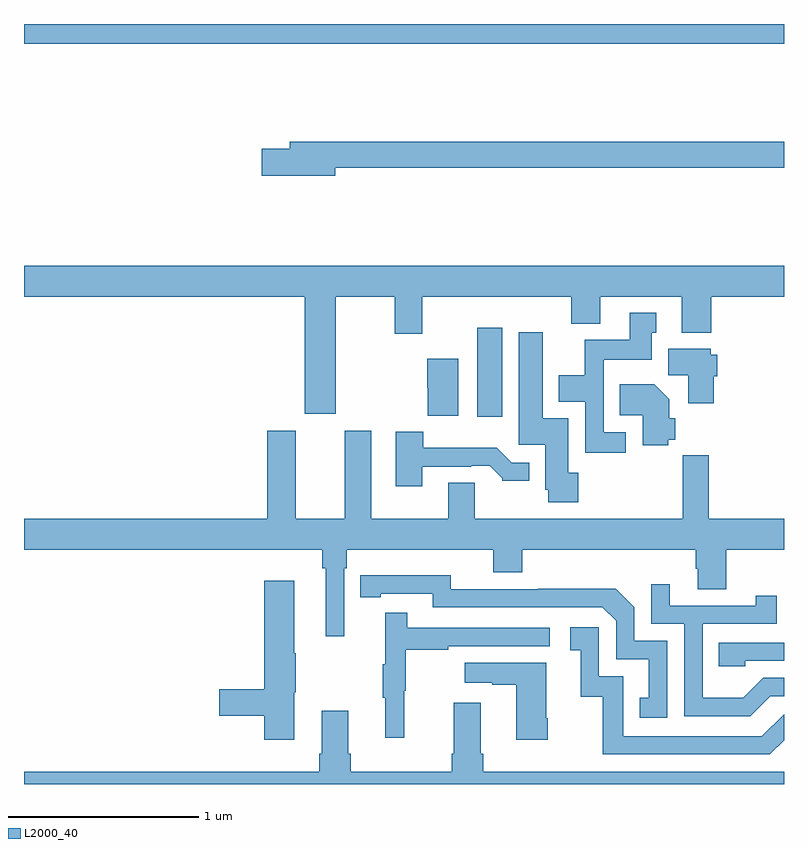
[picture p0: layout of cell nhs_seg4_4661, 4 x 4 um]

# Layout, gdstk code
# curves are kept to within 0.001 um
import gdstk
lib = gdstk.Library(unit=1e-6, precision=1e-09)
def R(c, l, rs):  # rectangles x0, y0, x1, y1
    for r in rs: c.add(gdstk.rectangle(r[:2], r[2:], *l))
def P(c, l, *ps):  # polygons
    for p in ps: c.add(gdstk.Polygon(p, *l))
L2000_40 = (2000, 40)

nhs_seg4_4661 = lib.new_cell('nhs_seg4_4661')
R(nhs_seg4_4661, L2000_40, [(363.386,818.832,363.517,819.301), (361,820.796,365,820.9)])
P(nhs_seg4_4661, L2000_40, [(362.638,820.144),(365,820.144),(365,820.28),(362.399,820.28),(362.399,820.244),(362.25,820.244),(362.25,820.102),(362.638,820.102)],
  [(362.641,819.464),(362.95,819.464),(362.95,819.27),(363.097,819.27),(363.097,819.464),(363.881,819.464),(363.881,819.323),(364.033,819.323),(364.033,819.464),(364.463,819.464),(364.463,819.275),(364.616,819.275),(364.616,819.464),(365,819.464),(365,819.628),(361,819.628),(361,819.464),(362.477,819.464),(362.477,818.85),(362.641,818.85)],
  [(364.168,818.751),(364.05,818.751),(364.05,819.134),(364.303,819.134),(364.303,819.276),(364.327,819.276),(364.327,819.379),(364.187,819.379),(364.187,819.238),(363.952,819.238),(363.952,819.052),(363.815,819.052),(363.815,818.912),(363.954,818.912),(363.954,818.643),(364.168,818.643)],
  [(363.917,818.538),(363.865,818.538),(363.865,818.824),(363.73,818.824),(363.73,819.277),(363.605,819.277),(363.605,818.685),(363.743,818.685),(363.743,818.448),(363.76,818.448),(363.76,818.382),(363.917,818.382)],
  [(364.631,819.045),(364.649,819.045),(364.649,819.159),(364.614,819.159),(364.614,819.19),(364.391,819.19),(364.391,819.052),(364.496,819.052),(364.496,818.904),(364.631,818.904)],
  [(363.286,819.139),(363.122,819.139),(363.122,818.985),(363.124,818.985),(363.124,818.837),(363.286,818.837)],
  [(364.392,818.712),(364.427,818.712),(364.427,818.826),(364.396,818.826),(364.396,818.926),(364.318,819.004),(364.135,819.004),(364.135,818.84),(364.256,818.84),(364.256,818.683),(364.392,818.683)],
  [(362.685,818.036),(362.699,818.036),(362.699,818.132),(363.47,818.132),(363.47,818.015),(363.623,818.015),(363.623,818.132),(364.535,818.132),(364.535,818.034),(364.547,818.034),(364.547,817.924),(364.695,817.924),(364.695,818.132),(365,818.132),(365,818.296),(364.604,818.296),(364.604,818.629),(364.468,818.629),(364.468,818.296),(363.373,818.296),(363.373,818.486),(363.233,818.486),(363.233,818.296),(362.827,818.296),(362.827,818.758),(362.687,818.758),(362.687,818.296),(362.431,818.296),(362.431,818.758),(362.279,818.758),(362.279,818.296),(361,818.296),(361,818.132),(362.569,818.132),(362.569,818.036),(362.588,818.036),(362.588,817.677),(362.685,817.677)],
  [(363.097,818.571),(363.353,818.571),(363.353,818.574),(363.452,818.574),(363.516,818.51),(363.516,818.495),(363.658,818.495),(363.658,818.592),(363.567,818.592),(363.489,818.671),(363.1,818.671),(363.1,818.755),(362.957,818.755),(362.957,818.466),(363.097,818.466)],
  [(364.386,817.653),(364.212,817.653),(364.212,817.83),(364.114,817.928),(363.706,817.928),(363.706,817.926),(363.246,817.926),(363.246,817.999),(362.77,817.998),(362.77,817.882),(362.878,817.882),(362.878,817.902),(363.15,817.902),(363.15,817.83),(364.044,817.83),(364.116,817.758),(364.116,817.557),(364.289,817.557),(364.289,817.353),(364.24,817.353),(364.24,817.248),(364.386,817.248)],
  [(362.422,817.383),(362.43,817.383),(362.43,817.589),(362.422,817.589),(362.422,817.969),(362.264,817.969),(362.264,817.4),(362.028,817.4),(362.028,817.258),(362.264,817.258),(362.264,817.134),(362.422,817.134)],
  [(364.927,817.362),(365,817.362),(365,817.458),(364.89,817.458),(364.786,817.354),(364.572,817.354),(364.572,817.743),(364.961,817.743),(364.961,817.891),(364.85,817.891),(364.85,817.839),(364.399,817.839),(364.399,817.951),(364.302,817.951),(364.302,817.743),(364.476,817.743),(364.476,817.257),(364.822,817.257)],
  [(363.002,817.392),(363.01,817.392),(363.01,817.606),(363.233,817.606),(363.233,817.626),(363.766,817.626),(363.766,817.722),(363.017,817.722),(363.017,817.801),(362.9,817.801),(362.9,817.529),(362.889,817.529),(362.889,817.355),(362.9,817.355),(362.9,817.143),(363.002,817.143)],
  [(365,817.13),(365,817.268),(364.884,817.152),(364.155,817.152),(364.155,817.467),(364.026,817.467),(364.026,817.726),(363.876,817.726),(363.876,817.605),(363.929,817.605),(363.929,817.359),(364.047,817.359),(364.047,817.056),(364.926,817.056)],
  [(364.797,817.548),(365,817.548),(365,817.644),(364.657,817.644),(364.657,817.521),(364.797,817.521)],
  [(363.756,817.246),(363.748,817.246),(363.748,817.537),(363.321,817.537),(363.321,817.433),(363.464,817.433),(363.464,817.423),(363.59,817.423),(363.59,817.134),(363.756,817.134)],
  [(365,816.964),(363.416,816.964),(363.416,817.06),(363.403,817.06),(363.403,817.327),(363.263,817.327),(363.263,817.06),(363.251,817.06),(363.251,816.964),(362.72,816.964),(362.72,817.06),(362.707,817.06),(362.707,817.285),(362.567,817.285),(362.567,817.06),(362.555,817.06),(362.555,816.964),(361,816.964),(361,816.9),(365,816.9)])

lib.write_gds('nhs_seg4_4661.gds')
